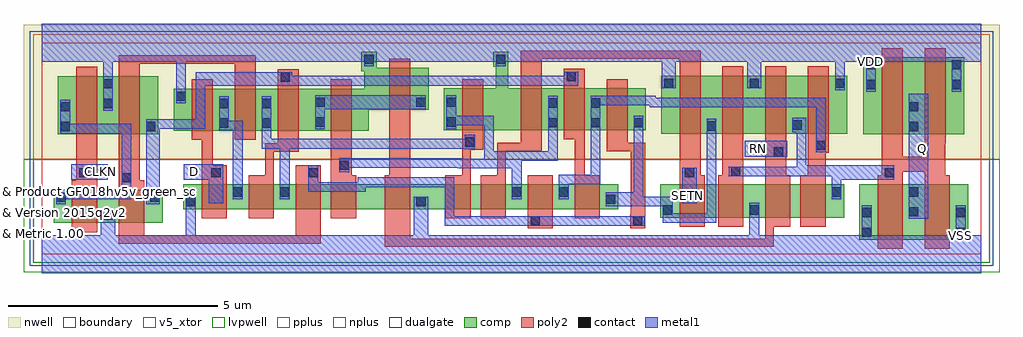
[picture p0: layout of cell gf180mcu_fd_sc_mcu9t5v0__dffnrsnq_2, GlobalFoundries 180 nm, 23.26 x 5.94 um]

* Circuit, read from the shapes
.subckt gf180mcu_fd_sc_mcu9t5v0__dffnrsnq_2 CLKN D Q RN SETN VDD VSS
XM1 VSS CLKN n1 VSUBS nfet_05v0 w=0.79u l=0.6u
XM2 n2 n1 VSS VSUBS nfet_05v0 w=0.79u l=0.6u
XM3 n3 D VSS VSUBS nfet_05v0 w=0.59u l=0.6u
XM4 n4 n2 n3 VSUBS nfet_05v0 w=0.59u l=0.6u
XM5 n5 n1 n4 VSUBS nfet_05v0 w=0.59u l=0.6u
XM6 n6 n7 n5 VSUBS nfet_05v0 w=0.59u l=0.6u
XM7 VSS RN n6 VSUBS nfet_05v0 w=0.59u l=0.6u
XM8 n8 n4 VSS VSUBS nfet_05v0 w=0.59u l=0.6u
XM9 n7 SETN n8 VSUBS nfet_05v0 w=0.59u l=0.6u
XM10 n9 n1 n7 VSUBS nfet_05v0 w=0.59u l=0.6u
XM11 n10 n2 n9 VSUBS nfet_05v0 w=0.59u l=0.6u
XM12 n11 SETN n10 VSUBS nfet_05v0 w=0.79u l=0.6u
XM13 VSS n12 n11 VSUBS nfet_05v0 w=0.79u l=0.6u
XM14 n13 RN VSS VSUBS nfet_05v0 w=0.79u l=0.6u
XM15 n12 n9 n13 VSUBS nfet_05v0 w=0.79u l=0.6u
XM16 Q n12 VSS VSUBS nfet_05v0 w=1.32u l=0.6u m=2
XM17 VDD CLKN n1 n14 pfet_05v0 w=1.38u l=0.5u
XM18 n2 n1 VDD n14 pfet_05v0 w=1.38u l=0.5u
XM19 n3 D VDD n14 pfet_05v0 w=1u l=0.5u
XM20 n4 n1 n3 n14 pfet_05v0 w=1u l=0.5u
XM21 n15 n2 n4 n14 pfet_05v0 w=1u l=0.5u
XM22 VDD n7 n15 n14 pfet_05v0 w=1u l=0.5u
XM23 n15 RN VDD n14 pfet_05v0 w=1u l=0.5u
XM24 VDD n4 n7 n14 pfet_05v0 w=1u l=0.5u
XM25 n7 SETN VDD n14 pfet_05v0 w=1u l=0.5u
XM26 n9 n2 n7 n14 pfet_05v0 w=1u l=0.5u
XM27 n10 n1 n9 n14 pfet_05v0 w=1u l=0.5u
XM28 n10 SETN VDD n14 pfet_05v0 w=1.38u l=0.5u
XM29 VDD n12 n10 n14 pfet_05v0 w=1.38u l=0.5u
XM30 n12 RN VDD n14 pfet_05v0 w=1.38u l=0.5u
XM31 VDD n9 n12 n14 pfet_05v0 w=1.38u l=0.5u
XM32 Q n12 VDD n14 pfet_05v0 w=1.83u l=0.5u m=2
.ends

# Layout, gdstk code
import gdstk
lib = gdstk.Library(unit=1e-6, precision=1e-09)
def R(c, l, rs):  # rectangles x0, y0, x1, y1
    for r in rs: c.add(gdstk.rectangle(r[:2], r[2:], *l))
def A(c, l, x, y, w, h, nx, ny, dx, dy):  # array of equal rectangles
    R(c, l, [(x+i*dx, y+j*dy, x+i*dx+w, y+j*dy+h) for i in range(nx) for j in range(ny)])
def P(c, l, *ps):  # polygons
    for p in ps: c.add(gdstk.Polygon(p, *l))
boundary = (0, 0)
nwell = (21, 0)
comp = (22, 0)
poly2 = (30, 0)
pplus = (31, 0)
nplus = (32, 0)
contact = (33, 0)
metal1 = (34, 0)
dualgate = (55, 0)
v5_xtor = (112, 1)
lvpwell = (204, 0)

gf180mcu_fd_sc_mcu9t5v0_ = lib.new_cell('gf180mcu_fd_sc_mcu9t5v0__dffnrsnq_2')
R(gf180mcu_fd_sc_mcu9t5v0_, boundary, [(0,0,22.4,5.04)])
R(gf180mcu_fd_sc_mcu9t5v0_, nwell, [(-0.43,2.265,22.83,5.47)])
R(gf180mcu_fd_sc_mcu9t5v0_, comp, [(19.485,0.345,22.085,1.665), (0.285,0.75,2.885,1.54), (14.745,0.875,19.125,1.665), (3.375,1.075,13.745,1.665), (0.385,2.865,2.785,4.245), (19.585,2.865,21.985,4.695), (14.765,2.875,19.205,4.255)])
P(gf180mcu_fd_sc_mcu9t5v0_, comp, [(3.145,2.945),(3.145,3.945),(7.695,3.945),(7.695,4.36),(7.625,4.36),(7.625,4.83),(7.985,4.83),(7.985,4.44),(9.225,4.44),(9.225,3.44),(7.795,3.44),(7.795,2.945)],
  [(9.585,2.955),(9.585,3.955),(10.825,3.955),(10.825,4.47),(10.765,4.47),(10.765,4.83),(11.125,4.83),(11.125,3.955),(14.405,3.955),(14.405,2.955)])
R(gf180mcu_fd_sc_mcu9t5v0_, poly2, [(11.585,0.615,12.185,1.885)])
P(gf180mcu_fd_sc_mcu9t5v0_, poly2, [(0.725,0.53),(0.725,1.76),(0.825,1.76),(0.825,4.465),(1.325,4.465),(1.325,0.53)],
  [(3.815,0.855),(3.815,2.725),(3.585,2.725),(3.585,4.165),(4.085,4.165),(4.085,2.125),(4.415,2.125),(4.415,0.855)],
  [(4.935,0.855),(4.935,1.885),(5.335,1.885),(5.335,2.645),(5.625,2.645),(5.625,4.405),(6.125,4.405),(6.125,2.445),(5.535,2.445),(5.535,0.855)],
  [(1.845,0.25),(1.845,4.745),(5.105,4.745),(5.105,2.725),(4.605,2.725),(4.605,4.545),(2.345,4.545),(2.345,1.76),(2.445,1.76),(2.445,0.45),(6.055,0.45),(6.055,2.125),(6.655,2.125),(6.655,0.25)],
  [(6.895,0.855),(6.895,4.165),(7.395,4.165),(7.395,1.885),(7.495,1.885),(7.495,0.855)],
  [(9.625,0.855),(9.625,1.885),(10.025,1.885),(10.025,4.175),(10.525,4.175),(10.525,2.495),(10.225,2.495),(10.225,0.855)],
  [(12.705,0.855),(12.705,2.735),(12.445,2.735),(12.445,4.415),(12.945,4.415),(12.945,1.885),(13.305,1.885),(13.305,0.855)],
  [(14.03,0.615),(14.03,0.95),(14.045,0.95),(14.045,2.455),(13.465,2.455),(13.465,4.175),(13.965,4.175),(13.965,2.655),(14.39,2.655),(14.39,0.615)],
  [(15.205,0.655),(15.205,4.655),(11.925,4.655),(11.925,2.455),(11.065,2.455),(11.065,0.855),(10.465,0.855),(10.465,1.885),(10.865,1.885),(10.865,2.655),(11.425,2.655),(11.425,4.855),(15.705,4.855),(15.705,1.885),(15.805,1.885),(15.805,0.655)],
  [(16.125,0.655),(16.125,1.885),(16.225,1.885),(16.225,4.475),(16.725,4.475),(16.725,0.655)],
  [(8.185,0.175),(8.185,1.885),(8.285,1.885),(8.285,4.66),(8.785,4.66),(8.785,0.375),(17.245,0.375),(17.245,4.475),(17.745,4.475),(17.745,1.885),(17.845,1.885),(17.845,0.655),(17.445,0.655),(17.445,0.175)],
  [(18.085,0.655),(18.085,1.885),(18.265,1.885),(18.265,4.475),(18.765,4.475),(18.765,2.415),(18.685,2.415),(18.685,0.655)],
  [(19.925,0.125),(19.925,1.885),(20.025,1.885),(20.025,4.915),(20.525,4.915),(20.525,2.325),(21.045,2.325),(21.045,4.915),(21.545,4.915),(21.545,2.645),(21.54,2.645),(21.54,1.885),(21.645,1.885),(21.645,0.125),(21.045,0.125),(21.045,1.965),(20.525,1.965),(20.525,0.125)])
R(gf180mcu_fd_sc_mcu9t5v0_, pplus, [(-0.2,2.265,22.6,5.24)])
R(gf180mcu_fd_sc_mcu9t5v0_, nplus, [(-0.2,-0.2,22.6,2.265)])
A(gf180mcu_fd_sc_mcu9t5v0_, contact, 12.075, 3.025, 0.22, 0.22, 3, 1, 1.02, 0)
A(gf180mcu_fd_sc_mcu9t5v0_, contact, 14.835, 3.965, 0.22, 0.22, 3, 1, 2.04, 0)
R(gf180mcu_fd_sc_mcu9t5v0_, contact, [(19.555,0.415,19.775,0.635), (21.795,0.415,22.015,0.635), (11.655,0.685,11.875,0.905), (14.1,0.685,14.32,0.905), (1.475,0.82,1.695,1.04), (19.555,0.885,19.775,1.105), (21.795,0.885,22.015,1.105), (20.675,0.905,20.895,1.125), (14.815,0.945,15.035,1.165), (16.875,0.945,17.095,1.165), (3.445,1.145,3.665,1.365), (8.935,1.145,9.155,1.365), (13.455,1.2,13.675,1.42), (0.355,1.25,0.575,1.47), (2.595,1.25,2.815,1.47), (4.565,1.375,4.785,1.595), (5.685,1.375,5.905,1.595), (11.215,1.375,11.435,1.595), (12.335,1.375,12.555,1.595), (18.835,1.375,19.055,1.595), (20.675,1.375,20.895,1.595), (1.915,1.71,2.135,1.93), (0.895,1.83,1.115,2.05), (4.05,1.835,4.27,2.055), (6.365,1.835,6.585,2.055), (15.33,1.835,15.55,2.055), (20.095,1.835,20.315,2.055), (16.435,1.865,16.655,2.085), (7.105,2.01,7.325,2.23), (17.455,2.325,17.675,2.545), (18.465,2.485,18.685,2.705), (10.095,2.565,10.315,2.785), (0.455,2.935,0.675,3.155), (2.495,2.935,2.715,3.155), (20.675,2.935,20.895,3.155), (15.855,2.945,16.075,3.165), (17.895,2.97,18.115,3.19), (4.235,3.015,4.455,3.235), (5.255,3.015,5.475,3.235), (6.525,3.04,6.745,3.26), (9.655,3.04,9.875,3.26), (0.455,3.405,0.675,3.625), (20.675,3.405,20.895,3.625), (1.475,3.485,1.695,3.705), (4.235,3.485,4.455,3.705), (5.255,3.485,5.475,3.705), (12.075,3.495,12.295,3.715), (13.095,3.495,13.315,3.715), (6.525,3.51,6.745,3.73), (8.935,3.51,9.155,3.73), (9.655,3.51,9.875,3.73), (3.215,3.655,3.435,3.875), (19.655,3.935,19.875,4.155), (21.695,3.935,21.915,4.155), (1.475,3.955,1.695,4.175), (5.695,4.115,5.915,4.335), (12.515,4.125,12.735,4.345), (19.655,4.405,19.875,4.625), (21.695,4.405,21.915,4.625), (7.695,4.54,7.915,4.76), (10.835,4.54,11.055,4.76)])
R(gf180mcu_fd_sc_mcu9t5v0_, metal1, [(20.67,0.845,21.13,3.83), (15.27,1.21,15.61,2.06), (0.71,1.77,1.58,2.15), (16.755,2.32,17.77,2.71)])
P(gf180mcu_fd_sc_mcu9t5v0_, metal1, [(0.35,1.19),(0.35,1.54),(1.91,1.54),(1.91,2.875),(0.45,2.875),(0.45,3.685),(0.68,3.685),(0.68,3.105),(2.14,3.105),(2.14,1.31),(0.58,1.31),(0.58,1.19)],
  [(3.99,1.21),(3.99,1.77),(3.39,1.77),(3.39,2.15),(4.33,2.15),(4.33,1.21)],
  [(4.56,1.315),(4.56,2.955),(4.23,2.955),(4.23,3.765),(4.46,3.765),(4.46,3.185),(4.79,3.185),(4.79,1.315)],
  [(6.52,2.98),(6.52,3.79),(9.16,3.79),(9.16,3.45),(6.75,3.45),(6.75,2.98)],
  [(5.68,1.315),(5.68,2.52),(5.25,2.52),(5.25,3.765),(5.48,3.765),(5.48,2.75),(10.09,2.75),(10.09,2.845),(10.32,2.845),(10.32,2.505),(10.09,2.505),(10.09,2.52),(5.91,2.52),(5.91,1.315)],
  [(11.21,1.315),(11.21,2.045),(9.92,2.045),(9.92,2.06),(7.33,2.06),(7.33,1.95),(7.1,1.95),(7.1,2.29),(10.005,2.29),(10.005,2.275),(10.55,2.275),(10.55,3.075),(9.88,3.075),(9.88,2.98),(9.65,2.98),(9.65,3.79),(9.88,3.79),(9.88,3.305),(10.78,3.305),(10.78,2.455),(12.07,2.455),(12.07,3.775),(12.3,3.775),(12.3,2.225),(11.44,2.225),(11.44,1.315)],
  [(2.49,1.19),(2.49,3.215),(3.67,3.215),(3.67,4.34),(5.975,4.34),(5.975,4.25),(12.455,4.25),(12.455,4.35),(12.795,4.35),(12.795,4.02),(3.9,4.02),(3.9,2.985),(2.82,2.985),(2.82,1.19)],
  [(9.605,0.68),(9.605,1.6),(7.73,1.6),(7.73,1.49),(6.36,1.49),(6.36,2.115),(6.59,2.115),(6.59,1.72),(7.53,1.72),(7.53,1.83),(9.835,1.83),(9.835,0.91),(14.38,0.91),(14.38,0.68)],
  [(14.81,0.75),(14.81,1.14),(13.45,1.14),(13.45,1.48),(14.11,1.48),(14.11,3.305),(14.34,3.305),(14.34,1.37),(15.04,1.37),(15.04,0.98),(15.85,0.98),(15.85,3.225),(16.08,3.225),(16.08,0.75)],
  [(12.33,1.315),(12.33,1.9),(13.09,1.9),(13.09,3.775),(14.635,3.775),(14.635,3.73),(18.69,3.73),(18.69,2.425),(18.46,2.425),(18.46,3.5),(14.495,3.5),(14.495,3.545),(13.32,3.545),(13.32,1.67),(12.56,1.67),(12.56,1.315)],
  [(18.83,1.315),(18.83,1.86),(16.375,1.86),(16.375,2.09),(18,2.09),(18,2.91),(17.89,2.91),(17.89,3.25),(18.23,3.25),(18.23,2.115),(20.32,2.115),(20.32,1.775),(19.06,1.775),(19.06,1.315)],
  [(0,-0.45),(0,0.45),(1.415,0.45),(1.415,1.045),(1.755,1.045),(1.755,0.45),(3.44,0.45),(3.44,1.425),(3.67,1.425),(3.67,0.45),(8.875,0.45),(8.875,1.37),(9.215,1.37),(9.215,0.45),(16.87,0.45),(16.87,1.225),(17.1,1.225),(17.1,0.45),(19.55,0.45),(19.55,1.165),(19.78,1.165),(19.78,0.45),(21.79,0.45),(21.79,1.165),(22.02,1.165),(22.02,0.45),(22.4,0.45),(22.4,-0.45)],
  [(1.47,3.425),(1.47,4.59),(0,4.59),(0,5.49),(22.4,5.49),(22.4,4.59),(21.92,4.59),(21.92,3.875),(21.69,3.875),(21.69,4.59),(19.88,4.59),(19.88,3.875),(19.65,3.875),(19.65,4.59),(19.14,4.59),(19.14,3.905),(18.91,3.905),(18.91,4.59),(17.155,4.59),(17.155,3.96),(16.815,3.96),(16.815,4.59),(15.115,4.59),(15.115,3.96),(14.775,3.96),(14.775,4.59),(11.06,4.59),(11.06,4.48),(10.83,4.48),(10.83,4.59),(7.92,4.59),(7.92,4.48),(7.69,4.48),(7.69,4.59),(3.44,4.59),(3.44,3.595),(3.21,3.595),(3.21,4.59),(1.7,4.59),(1.7,3.425)])
R(gf180mcu_fd_sc_mcu9t5v0_, dualgate, [(-0.28,-0.28,22.68,5.32)])
R(gf180mcu_fd_sc_mcu9t5v0_, v5_xtor, [(0,0,22.4,5.04)])
R(gf180mcu_fd_sc_mcu9t5v0_, lvpwell, [(-0.43,-0.43,22.83,2.265)])
gf180mcu_fd_sc_mcu9t5v0_.add(gdstk.Label('CLKN', (1.4,1.96), layer=34, texttype=10))
gf180mcu_fd_sc_mcu9t5v0_.add(gdstk.Label('D', (3.64,1.96), layer=34, texttype=10))
gf180mcu_fd_sc_mcu9t5v0_.add(gdstk.Label('Q', (21,2.52), layer=34, texttype=10))
gf180mcu_fd_sc_mcu9t5v0_.add(gdstk.Label('RN', (17.08,2.52), layer=34, texttype=10))
gf180mcu_fd_sc_mcu9t5v0_.add(gdstk.Label('SETN', (15.4,1.4), layer=34, texttype=10))
gf180mcu_fd_sc_mcu9t5v0_.add(gdstk.Label('VDD', (19.765,4.59), layer=34, texttype=10))
gf180mcu_fd_sc_mcu9t5v0_.add(gdstk.Label('VSS', (21.905,0.45), layer=34, texttype=10))
gf180mcu_fd_sc_mcu9t5v0_.add(gdstk.Label('& Vendor GLOBALFOUNDRIES', (0,2), layer=63, texttype=63))
gf180mcu_fd_sc_mcu9t5v0_.add(gdstk.Label('& Product GF018hv5v_green_sc9', (0,1.5), layer=63, texttype=63))
gf180mcu_fd_sc_mcu9t5v0_.add(gdstk.Label('& Version 2015q2v2', (0,1), layer=63, texttype=63))
gf180mcu_fd_sc_mcu9t5v0_.add(gdstk.Label('& Metric 1.00', (0,0.5), layer=63, texttype=63))

lib.write_gds('gf180mcu_fd_sc_mcu9t5v0__dffnrsnq_2.gds')
